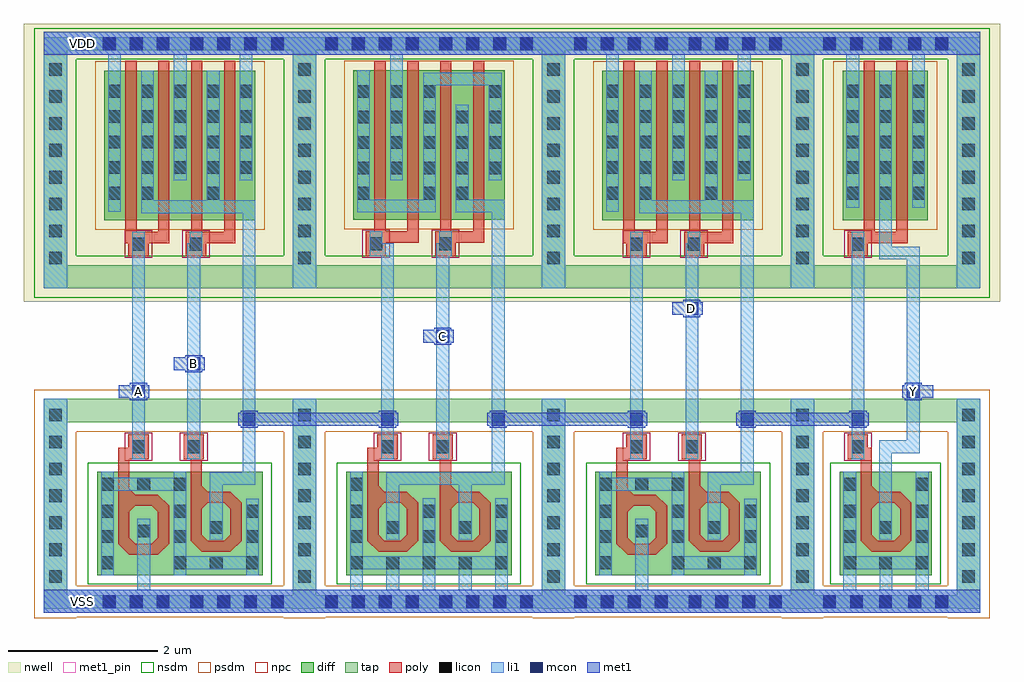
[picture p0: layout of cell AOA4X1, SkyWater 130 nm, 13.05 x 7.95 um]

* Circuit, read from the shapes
.subckt AOA4X1 A B C D VDD VSS Y
XM1 n1 A VSS VSS sky130_fd_pr__nfet_01v8 w=2.6 l=0.149
XM2 n1 B n2 VSS sky130_fd_pr__nfet_01v8 w=2.56 l=0.1467
XM3 VSS n2 n3 VSS sky130_fd_pr__nfet_01v8 w=2.56 l=0.1451
XM4 VSS C n3 VSS sky130_fd_pr__nfet_01v8 w=2.56 l=0.1467
XM5 n4 n3 VSS VSS sky130_fd_pr__nfet_01v8 w=2.6 l=0.149
XM6 n4 D n5 VSS sky130_fd_pr__nfet_01v8 w=2.56 l=0.1467
XM7 VSS n5 Y VSS sky130_fd_pr__nfet_01v8 w=2.56 l=0.1468
XM8 n2 A VDD VDD sky130_fd_pr__pfet_01v8 w=2 l=0.15 m=2
XM9 n2 B VDD VDD sky130_fd_pr__pfet_01v8 w=2 l=0.15 m=2
XM10 VDD n2 n6 VDD sky130_fd_pr__pfet_01v8 w=2 l=0.15 m=2
XM11 n3 C n6 VDD sky130_fd_pr__pfet_01v8 w=2 l=0.15 m=2
XM12 n5 n3 VDD VDD sky130_fd_pr__pfet_01v8 w=2 l=0.15 m=2
XM13 n5 D VDD VDD sky130_fd_pr__pfet_01v8 w=2 l=0.15 m=2
XM14 Y n5 VDD VDD sky130_fd_pr__pfet_01v8 w=2 l=0.15 m=2
.ends

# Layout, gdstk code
import gdstk
lib = gdstk.Library(unit=1e-6, precision=1e-09)
def R(c, l, rs):  # rectangles x0, y0, x1, y1
    for r in rs: c.add(gdstk.rectangle(r[:2], r[2:], *l))
def A(c, l, x, y, w, h, nx, ny, dx, dy):  # array of equal rectangles
    R(c, l, [(x+i*dx, y+j*dy, x+i*dx+w, y+j*dy+h) for i in range(nx) for j in range(ny)])
def P(c, l, *ps):  # polygons
    for p in ps: c.add(gdstk.Polygon(p, *l))
nwell = (64, 20)
diff = (65, 20)
tap = (65, 44)
poly = (66, 20)
licon = (66, 44)
li1 = (67, 20)
mcon = (67, 44)
met1_pin = (68, 16)
met1 = (68, 20)
nsdm = (93, 44)
psdm = (94, 20)
npc = (95, 20)

aoa4x1 = lib.new_cell('AOA4X1')
R(aoa4x1, nwell, [(-0.42,4.16,12.63,7.875)])
A(aoa4x1, diff, 0.56, 0.505, 2.21, 1.38, 3, 1, 3.33, 0)
R(aoa4x1, diff, [(10.485,0.505,11.715,1.885), (0.655,5.25,2.675,7.25), (7.315,5.25,9.335,7.25), (10.525,5.25,11.665,7.25), (3.985,5.255,6.005,7.255)])
A(aoa4x1, tap, -0.155, 0.055, 0.31, 0.01, 4, 1, 3.33, 0)
A(aoa4x1, tap, -0.155, 0.235, 0.31, 2.315, 4, 1, 3.33, 0)
A(aoa4x1, tap, -0.155, 4.65, 0.31, 2.875, 4, 1, 3.33, 0)
R(aoa4x1, tap, [(12.055,0.055,12.365,0.065), (-0.155,0.065,12.365,0.235), (12.055,0.235,12.365,2.55), (-0.155,2.55,12.365,2.86), (-0.155,4.34,12.365,4.65), (12.055,4.65,12.365,7.525), (-0.155,7.525,12.365,7.695)])
A(aoa4x1, poly, 0.84, 2.055, 0.405, 0.15, 3, 1, 3.33, 0)
A(aoa4x1, poly, 1.715, 2.055, 0.27, 0.33, 3, 1, 3.33, 0)
A(aoa4x1, poly, 0.975, 2.205, 0.27, 0.18, 3, 1, 3.33, 0)
A(aoa4x1, poly, 0.935, 5.095, 0.15, 2.285, 4, 1, 0.44, 0)
A(aoa4x1, poly, 7.595, 5.095, 0.15, 2.285, 4, 1, 0.44, 0)
A(aoa4x1, poly, 4.265, 5.1, 0.15, 2.285, 4, 1, 0.44, 0)
R(aoa4x1, poly, [(0.99,0.775,1.37,0.925), (7.65,0.775,8.03,0.815), (1.96,0.815,2.34,0.965), (4.32,0.815,4.7,0.965), (5.29,0.815,5.67,0.965), (7.61,0.815,8.03,0.925), (8.62,0.815,9,0.965), (10.915,0.815,11.295,0.965), (0.84,0.925,0.99,1.43), (1.37,0.925,1.52,1.43), (7.5,0.925,7.65,1.43), (8.03,0.925,8.18,1.43), (1.81,0.965,1.96,1.47), (2.34,0.965,2.49,1.47), (4.17,0.965,4.32,1.47), (4.7,0.965,4.85,1.47), (5.14,0.965,5.29,1.395), (5.67,0.965,5.82,1.395), (8.47,0.965,8.62,1.47), (9,0.965,9.15,1.47), (10.765,0.965,10.915,1.47), (11.295,0.965,11.445,1.47), (5.14,1.395,5.295,1.47), (5.665,1.395,5.82,1.47), (0.84,1.43,1.37,1.58), (7.5,1.43,8.03,1.58), (1.81,1.47,2.34,1.62), (4.17,1.47,4.7,1.62), (5.14,1.47,5.67,1.62), (8.47,1.47,9,1.62), (10.765,1.47,11.295,1.62), (0.84,1.58,0.99,2.055), (7.5,1.58,7.65,2.055), (1.81,1.62,1.96,2.055), (4.17,1.62,4.32,2.055), (5.14,1.62,5.29,2.055), (8.47,1.62,8.62,2.055), (10.765,1.62,10.915,2.055), (10.595,2.055,10.915,2.205), (10.595,2.205,10.865,2.385), (0.975,4.765,1.245,4.945), (1.745,4.765,2.015,4.945), (7.635,4.765,7.905,4.945), (8.405,4.765,8.675,4.945), (10.595,4.765,10.865,4.945), (4.15,4.77,4.42,4.95), (5.08,4.77,5.35,4.95), (0.935,4.945,1.525,5.095), (1.745,4.945,2.405,5.095), (7.595,4.945,8.185,5.095), (8.405,4.945,9.065,5.095), (10.595,4.945,11.395,5.095), (4.15,4.95,4.855,5.1), (5.08,4.95,5.735,5.1), (10.805,5.095,10.955,7.38), (11.245,5.095,11.395,7.38)])
P(aoa4x1, poly, [(0.99,1.66),(0.99,1.58),(1.07,1.58)],
  [(1.96,1.7),(1.96,1.62),(2.04,1.62)],
  [(4.32,1.7),(4.32,1.62),(4.4,1.62)],
  [(5.29,1.7),(5.29,1.62),(5.37,1.62)],
  [(1.37,1.58),(1.37,1.43),(1.52,1.43)],
  [(0.99,1.35),(0.99,1.43),(1.07,1.43)],
  [(1.29,1.43),(1.37,1.43),(1.37,1.35)],
  [(0.99,1.005),(0.99,0.925),(1.07,0.925)],
  [(1.29,0.925),(1.37,0.925),(1.37,1.005)],
  [(0.84,0.925),(0.99,0.925),(0.99,0.775)],
  [(1.37,0.775),(1.37,0.925),(1.52,0.925)],
  [(2.34,1.62),(2.34,1.47),(2.49,1.47)],
  [(1.96,1.39),(1.96,1.47),(2.04,1.47)],
  [(2.26,1.47),(2.34,1.47),(2.34,1.39)],
  [(1.96,1.045),(1.96,0.965),(2.04,0.965)],
  [(2.26,0.965),(2.34,0.965),(2.34,1.045)],
  [(1.81,0.965),(1.96,0.965),(1.96,0.815)],
  [(2.34,0.815),(2.34,0.965),(2.49,0.965)],
  [(4.7,1.62),(4.7,1.47),(4.85,1.47)],
  [(4.32,1.39),(4.32,1.47),(4.4,1.47)],
  [(4.62,1.47),(4.7,1.47),(4.7,1.39)],
  [(4.32,1.045),(4.32,0.965),(4.4,0.965)],
  [(4.62,0.965),(4.7,0.965),(4.7,1.045)],
  [(4.17,0.965),(4.32,0.965),(4.32,0.815)],
  [(4.7,0.815),(4.7,0.965),(4.85,0.965)],
  [(5.67,1.62),(5.67,1.47),(5.82,1.47)],
  [(5.295,1.395),(5.295,1.47),(5.37,1.47)],
  [(5.59,1.47),(5.665,1.47),(5.665,1.395)],
  [(5.29,1.045),(5.29,0.965),(5.37,0.965)],
  [(5.59,0.965),(5.67,0.965),(5.67,1.045)],
  [(5.14,0.965),(5.29,0.965),(5.29,0.815)],
  [(5.67,0.815),(5.67,0.965),(5.82,0.965)],
  [(7.65,1.66),(7.65,1.58),(7.73,1.58)],
  [(8.62,1.7),(8.62,1.62),(8.7,1.62)],
  [(10.915,1.7),(10.915,1.62),(10.995,1.62)],
  [(8.03,1.58),(8.03,1.43),(8.18,1.43)],
  [(7.65,1.35),(7.65,1.43),(7.73,1.43)],
  [(7.95,1.43),(8.03,1.43),(8.03,1.35)],
  [(7.65,1.005),(7.65,0.925),(7.73,0.925)],
  [(7.95,0.925),(8.03,0.925),(8.03,1.005)],
  [(7.5,0.925),(7.61,0.925),(7.61,0.815)],
  [(7.61,0.815),(7.65,0.815),(7.65,0.775)],
  [(8.03,0.775),(8.03,0.925),(8.18,0.925)],
  [(9,1.62),(9,1.47),(9.15,1.47)],
  [(8.62,1.39),(8.62,1.47),(8.7,1.47)],
  [(8.92,1.47),(9,1.47),(9,1.39)],
  [(8.62,1.045),(8.62,0.965),(8.7,0.965)],
  [(8.92,0.965),(9,0.965),(9,1.045)],
  [(8.47,0.965),(8.62,0.965),(8.62,0.815)],
  [(9,0.815),(9,0.965),(9.15,0.965)],
  [(11.295,1.62),(11.295,1.47),(11.445,1.47)],
  [(10.915,1.39),(10.915,1.47),(10.995,1.47)],
  [(11.215,1.47),(11.295,1.47),(11.295,1.39)],
  [(10.915,1.045),(10.915,0.965),(10.995,0.965)],
  [(11.215,0.965),(11.295,0.965),(11.295,1.045)],
  [(10.765,0.965),(10.915,0.965),(10.915,0.815)],
  [(11.295,0.815),(11.295,0.965),(11.445,0.965)])
A(aoa4x1, licon, 0.275, 0.065, 0.17, 0.17, 4, 2, 0.36, 7.46)
A(aoa4x1, licon, 1.805, 0.065, 0.17, 0.17, 4, 2, 0.36, 7.46)
A(aoa4x1, licon, 3.605, 0.065, 0.17, 0.17, 4, 2, 0.36, 7.46)
A(aoa4x1, licon, 5.135, 0.065, 0.17, 0.17, 4, 2, 0.36, 7.46)
A(aoa4x1, licon, 6.935, 0.065, 0.17, 0.17, 4, 2, 0.36, 7.46)
A(aoa4x1, licon, 8.465, 0.065, 0.17, 0.17, 4, 2, 0.36, 7.46)
A(aoa4x1, licon, 10.625, 0.065, 0.17, 0.17, 3, 2, 0.39, 7.46)
A(aoa4x1, licon, -0.085, 0.4, 0.17, 0.17, 4, 7, 3.33, 0.36)
A(aoa4x1, licon, 12.125, 0.4, 0.17, 0.17, 1, 7, 0, 0.36)
A(aoa4x1, licon, 1.58, 0.585, 0.17, 0.17, 3, 1, 0.485, 0)
A(aoa4x1, licon, 3.94, 0.585, 0.17, 0.17, 5, 1, 0.485, 0)
A(aoa4x1, licon, 8.24, 0.585, 0.17, 0.17, 3, 1, 0.485, 0)
A(aoa4x1, licon, 0.61, 0.935, 0.17, 0.17, 3, 2, 0.97, 0.34)
A(aoa4x1, licon, 3.94, 0.935, 0.17, 0.17, 3, 2, 0.97, 0.34)
A(aoa4x1, licon, 7.27, 0.935, 0.17, 0.17, 3, 2, 0.97, 0.34)
A(aoa4x1, licon, 0.61, 1.635, 0.17, 0.17, 3, 1, 0.485, 0)
A(aoa4x1, licon, 7.27, 1.635, 0.17, 0.17, 3, 1, 0.485, 0)
A(aoa4x1, licon, -0.085, 4.66, 0.17, 0.17, 4, 8, 3.33, 0.36)
A(aoa4x1, licon, 12.125, 4.66, 0.17, 0.17, 1, 8, 0, 0.36)
A(aoa4x1, licon, 10.575, 5.525, 0.17, 0.17, 3, 2, 0.44, 0.345)
A(aoa4x1, licon, 4.035, 5.865, 0.17, 0.17, 5, 3, 0.44, 0.34)
A(aoa4x1, licon, 0.705, 5.87, 0.17, 0.17, 5, 4, 0.44, 0.34)
A(aoa4x1, licon, 7.365, 5.87, 0.17, 0.17, 5, 4, 0.44, 0.34)
A(aoa4x1, licon, 10.575, 6.21, 0.17, 0.17, 3, 3, 0.44, 0.34)
A(aoa4x1, licon, 4.035, 6.885, 0.17, 0.17, 3, 1, 0.44, 0)
R(aoa4x1, licon, [(10.265,0.065,10.435,0.235), (11.765,0.065,11.935,0.235), (0.61,0.585,0.78,0.755), (7.27,0.585,7.44,0.755), (10.535,0.585,10.705,0.755), (11.015,0.585,11.185,0.755), (11.505,0.585,11.675,0.755), (10.535,0.935,10.705,1.105), (11.505,0.935,11.675,1.105), (1.095,1.01,1.265,1.18), (7.755,1.01,7.925,1.18), (2.065,1.055,2.235,1.225), (4.425,1.055,4.595,1.225), (5.395,1.055,5.565,1.225), (8.725,1.055,8.895,1.225), (11.015,1.055,11.185,1.225), (10.535,1.275,10.705,1.445), (11.505,1.275,11.675,1.445), (3.94,1.635,4.11,1.805), (10.535,1.635,10.705,1.805), (11.505,1.635,11.675,1.805), (1.025,2.135,1.195,2.305), (1.765,2.135,1.935,2.305), (4.355,2.135,4.525,2.305), (5.095,2.135,5.265,2.305), (7.685,2.135,7.855,2.305), (8.425,2.135,8.595,2.305), (10.645,2.135,10.815,2.305), (1.025,4.845,1.195,5.015), (1.795,4.845,1.965,5.015), (7.685,4.845,7.855,5.015), (8.455,4.845,8.625,5.015), (10.645,4.845,10.815,5.015), (4.2,4.85,4.37,5.02), (5.13,4.85,5.3,5.02), (0.705,5.525,0.875,5.695), (1.145,5.525,1.315,5.695), (2.025,5.525,2.195,5.695), (4.035,5.525,4.205,5.695), (4.915,5.525,5.085,5.695), (5.355,5.525,5.525,5.695), (7.365,5.525,7.535,5.695), (7.805,5.525,7.975,5.695), (8.685,5.525,8.855,5.695), (5.795,6.885,5.965,7.055), (10.265,7.525,10.435,7.695), (11.765,7.525,11.935,7.695)])
A(aoa4x1, li1, -0.155, 0.31, 0.31, 2.55, 4, 1, 3.33, 0)
A(aoa4x1, li1, 3.94, 0.31, 0.17, 0.275, 5, 1, 0.485, 0)
A(aoa4x1, li1, 10.535, 0.31, 0.17, 0.275, 3, 1, 0.485, 0)
A(aoa4x1, li1, -0.155, 4.34, 0.31, 3.12, 4, 1, 3.33, 0)
R(aoa4x1, li1, [(-0.155,0,12.365,0.31), (1.095,0.31,1.265,1.26), (7.755,0.31,7.925,1.26), (12.055,0.31,12.365,2.86), (0.61,0.505,0.78,1.635), (1.58,0.505,1.75,0.585), (2.55,0.505,2.72,0.585), (7.27,0.505,7.44,1.635), (8.24,0.505,8.41,0.585), (9.21,0.505,9.38,0.585), (1.58,0.585,2.72,0.755), (3.94,0.585,6.05,0.755), (8.24,0.585,9.38,0.755), (10.535,0.585,11.675,0.755), (1.58,0.755,1.75,1.635), (2.55,0.755,2.72,1.525), (3.94,0.755,4.11,1.885), (4.91,0.755,5.08,1.53), (5.88,0.755,6.05,1.53), (8.24,0.755,8.41,1.635), (9.21,0.755,9.38,1.525), (10.535,0.755,10.705,1.885), (11.505,0.755,11.675,1.885), (2.065,0.975,2.235,1.71), (4.425,0.975,4.595,1.71), (5.395,0.975,5.565,1.71), (8.725,0.975,8.895,1.71), (11.015,0.975,11.185,2.135), (0.61,1.635,1.75,1.805), (7.27,1.635,8.41,1.805), (2.065,1.71,2.675,1.88), (4.425,1.71,6.005,1.88), (8.725,1.71,9.335,1.88), (0.61,1.805,0.78,1.885), (1.58,1.805,1.75,1.885), (7.27,1.805,7.44,1.885), (8.24,1.805,8.41,1.885), (2.505,1.88,2.675,5.345), (5.835,1.88,6.005,5.355), (9.165,1.88,9.335,5.345), (1.025,2.055,1.195,5.095), (1.765,2.055,1.935,4.765), (4.355,2.055,4.525,4.77), (5.095,2.055,5.265,4.77), (7.685,2.055,7.855,5.095), (8.425,2.055,8.595,4.765), (10.645,2.055,10.815,5.095), (11.015,2.135,11.555,2.305), (11.385,2.305,11.555,4.725), (12.055,4.34,12.365,7.46), (11.015,4.725,11.555,4.895), (1.765,4.765,1.965,4.94), (8.425,4.765,8.625,4.94), (4.2,4.77,4.525,4.94), (5.095,4.77,5.3,4.94), (11.015,4.895,11.185,7.25), (1.795,4.94,1.965,5.095), (4.2,4.94,4.37,5.1), (5.13,4.94,5.3,5.1), (8.455,4.94,8.625,5.095), (1.145,5.345,2.675,5.515), (7.805,5.345,9.335,5.515), (4.035,5.355,5.085,5.525), (5.355,5.355,6.005,5.525), (0.705,5.365,0.875,7.46), (7.365,5.365,7.535,7.46), (10.575,5.415,10.745,7.46), (11.455,5.415,11.625,7.46), (1.145,5.515,1.315,7.25), (2.025,5.515,2.195,7.25), (7.805,5.515,7.975,7.25), (8.685,5.515,8.855,7.25), (4.035,5.525,4.205,7.255), (4.915,5.525,5.085,7.055), (5.355,5.525,5.525,6.795), (1.585,5.785,1.755,7.46), (2.465,5.785,2.635,7.46), (4.475,5.785,4.645,7.46), (5.795,5.785,5.965,7.055), (8.245,5.785,8.415,7.46), (9.125,5.785,9.295,7.46), (4.915,7.055,5.965,7.225), (-0.155,7.46,12.365,7.77)])
A(aoa4x1, mcon, 0.275, 0.065, 0.17, 0.17, 4, 2, 0.36, 7.46)
A(aoa4x1, mcon, 1.805, 0.065, 0.17, 0.17, 4, 2, 0.36, 7.46)
A(aoa4x1, mcon, 3.605, 0.065, 0.17, 0.17, 4, 2, 0.36, 7.46)
A(aoa4x1, mcon, 5.135, 0.065, 0.17, 0.17, 4, 2, 0.36, 7.46)
A(aoa4x1, mcon, 6.935, 0.065, 0.17, 0.17, 4, 2, 0.36, 7.46)
A(aoa4x1, mcon, 8.465, 0.065, 0.17, 0.17, 4, 2, 0.36, 7.46)
A(aoa4x1, mcon, 10.625, 0.065, 0.17, 0.17, 3, 2, 0.39, 7.46)
A(aoa4x1, mcon, 7.685, 2.505, 0.17, 0.17, 3, 1, 1.48, 0)
R(aoa4x1, mcon, [(10.265,0.065,10.435,0.235), (11.765,0.065,11.935,0.235), (2.505,2.505,2.675,2.675), (4.355,2.505,4.525,2.675), (5.835,2.505,6.005,2.675), (1.025,2.875,1.195,3.045), (11.385,2.875,11.555,3.045), (1.765,3.245,1.935,3.415), (5.095,3.615,5.265,3.785), (8.425,3.985,8.595,4.155), (10.265,7.525,10.435,7.695), (11.765,7.525,11.935,7.695)])
R(aoa4x1, met1_pin, [(0.275,0.065,0.445,0.235), (1.025,2.875,1.195,3.045), (11.385,2.875,11.555,3.045), (1.765,3.245,1.935,3.415), (5.095,3.615,5.265,3.785), (8.425,3.985,8.595,4.155), (0.275,7.525,0.445,7.695)])
A(aoa4x1, met1, 7.655, 2.475, 0.23, 0.03, 3, 2, 1.48, 0.2)
R(aoa4x1, met1, [(-0.155,0,12.365,0.31), (2.475,2.475,2.705,2.505), (4.325,2.475,4.555,2.505), (5.805,2.475,6.035,2.505), (2.445,2.505,4.585,2.675), (5.775,2.505,7.915,2.675), (9.105,2.505,10.875,2.675), (2.475,2.675,2.705,2.705), (4.325,2.675,4.555,2.705), (5.805,2.675,6.035,2.705), (0.995,2.845,1.225,2.875), (11.355,2.845,11.585,2.875), (0.845,2.875,1.255,3.045), (11.325,2.875,11.735,3.045), (0.995,3.045,1.225,3.075), (11.355,3.045,11.585,3.075), (1.735,3.215,1.965,3.245), (1.585,3.245,1.995,3.415), (1.735,3.415,1.965,3.445), (5.065,3.585,5.295,3.615), (4.915,3.615,5.325,3.785), (5.065,3.785,5.295,3.815), (8.395,3.955,8.625,3.985), (8.245,3.985,8.655,4.155), (8.395,4.155,8.625,4.185), (-0.155,7.46,12.365,7.77)])
A(aoa4x1, nsdm, 0.435, 0.38, 2.46, 1.63, 3, 1, 3.33, 0)
A(aoa4x1, nsdm, -0.28, 4.775, 0.56, 2.625, 4, 1, 3.33, 0)
R(aoa4x1, nsdm, [(10.36,0.38,11.84,2.01), (-0.28,4.215,12.49,4.775), (11.93,4.775,12.49,7.4), (-0.28,7.4,12.49,7.82)])
A(aoa4x1, psdm, -0.28, -0.07, 0.56, 0.01, 4, 1, 3.33, 0)
A(aoa4x1, psdm, -0.28, 0.36, 0.56, 2.065, 4, 1, 3.33, 0)
R(aoa4x1, psdm, [(11.93,-0.07,12.49,-0.06), (-0.28,-0.06,12.49,0.36), (11.93,0.36,12.49,2.425), (-0.28,2.425,12.49,2.985), (0.53,5.125,2.8,7.375), (7.19,5.125,9.46,7.375), (10.4,5.125,11.79,7.375), (3.86,5.13,6.13,7.38)])
R(aoa4x1, npc, [(0.925,2.035,1.295,2.405), (1.665,2.035,2.035,2.405), (4.255,2.035,4.625,2.405), (4.995,2.035,5.365,2.405), (7.585,2.035,7.955,2.405), (8.325,2.035,8.695,2.405), (10.545,2.035,10.915,2.405), (0.925,4.745,1.295,5.115), (1.695,4.745,2.065,5.115), (7.585,4.745,7.955,5.115), (8.355,4.745,8.725,5.115), (10.545,4.745,10.915,5.115), (4.1,4.75,4.47,5.12), (5.03,4.75,5.4,5.12)])
aoa4x1.add(gdstk.Label('Y', (11.47,2.96), layer=68, texttype=16))
aoa4x1.add(gdstk.Label('A', (1.11,2.96), layer=68, texttype=16))
aoa4x1.add(gdstk.Label('B', (1.85,3.33), layer=68, texttype=16))
aoa4x1.add(gdstk.Label('C', (5.18,3.7), layer=68, texttype=16))
aoa4x1.add(gdstk.Label('D', (8.51,4.07), layer=68, texttype=16))
aoa4x1.add(gdstk.Label('VDD', (0.36,7.61), layer=68, texttype=16))
aoa4x1.add(gdstk.Label('VSS', (0.36,0.15), layer=68, texttype=16))

lib.write_gds('AOA4X1.gds')
